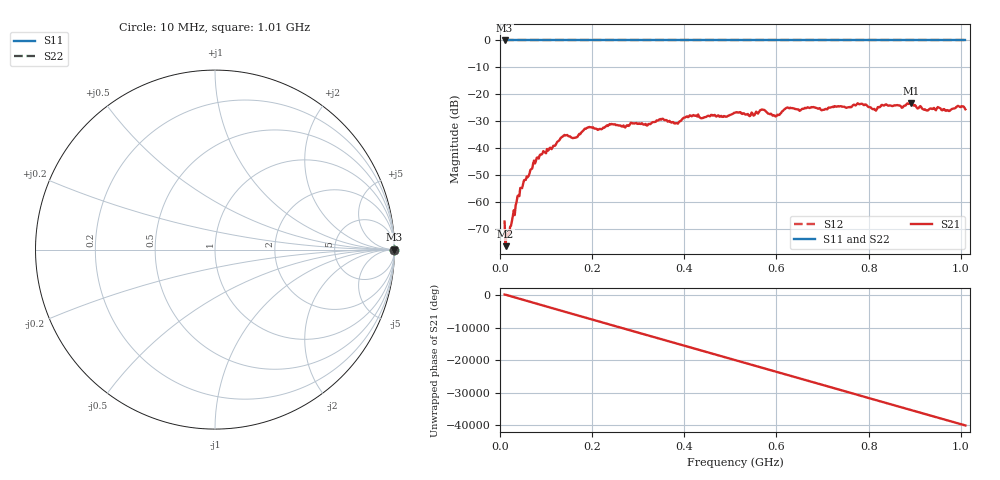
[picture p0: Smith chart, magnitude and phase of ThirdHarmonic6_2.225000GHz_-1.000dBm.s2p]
! 8/17/2025 2:29:31 AM
! C:\ANRITSUVNA\TEMP\TEMP.S2P
! CHANNEL.1
! TR.MEASUREMENT
! RAW.DATA
! RF.CORRECTION.OFF
! AVERAGING.OFF
! IF.BANDWIDTH: 5KHZ
! SWEEPTYPE:  FREQ.SWEEP(Linear)
! Reference Plane Port Info
! PORT:  PORT1  PORT2
! DISTANCE:  0  m  0  m
! TIME:  0  s  0  s
! PHASE.OFFSET:  0  deg.  0  deg.
! LOSS:  0  dB  0  dB
! REF.LOSS:  0  dB  0  dB
! REF.FREQ:  0  Hz  0  Hz
! Power Info
! POWER:  -20  dBm  -20  dBm
! EFF.POWER:  -20  dBm  -20  dBm
! SOURCE.ATTEN:  0  dB  0  dB
! TEST.ATTEN:  0  dB  0  dB
# GHZ S RI R 50.0
! FREQ.GHZ  S11RE  S11IM  S21RE  S21IM  S12RE  S12IM  S22RE  S22IM
!; PortSelection: Port_12
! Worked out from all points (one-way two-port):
!   501 points, 10 MHz to 1.01 GHz, reference 50 ohm
!   highest |S21| = -23.25 dB at 892 MHz (marker M1); lowest = -76.4 dB at 12 MHz (marker M2)
!   lowest |S11| = 0.0 dB at 10 MHz (marker M3)
!   |S11| at or under -10 dB: nowhere
!   |S22| runs from 0.0 to 0.0 dB; largest |S21 - S12| = 1.1
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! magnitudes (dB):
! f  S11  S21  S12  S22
! 10 MHz  0.0  -67.3  0.0  0.0
! 12 MHz  0.0  -76.4  0.0  0.0
! 16 MHz  0.0  -72.7  0.0  0.0
! 42 MHz  0.0  -57.8  0.0  0.0
! 76 MHz  0.0  -45.7  0.0  0.0
! 136 MHz  0.0  -35.7  0.0  0.0
! 162 MHz  0.0  -36.2  0.0  0.0
! 178 MHz  0.0  -33.9  0.0  0.0
! 344 MHz  0.0  -29.7  0.0  0.0
! 382 MHz  0.0  -30.7  0.0  0.0
! 416 MHz  0.0  -28.2  0.0  0.0
! 510 MHz  0.0  -26.8  0.0  0.0
! 570 MHz  0.0  -25.7  0.0  0.0
! 596 MHz  0.0  -27.9  0.0  0.0
! 622 MHz  0.0  -25.0  0.0  0.0
! 678 MHz  0.0  -24.8  0.0  0.0
! 780 MHz  0.0  -23.7  0.0  0.0
! 814 MHz  0.0  -25.8  0.0  0.0
! 844 MHz  0.0  -24.2  0.0  0.0
! 892 MHz  0.0  -23.3  0.0  0.0
! 924 MHz  0.0  -25.8  0.0  0.0
! 1.01 GHz  0.0  -25.6  0.0  0.0
